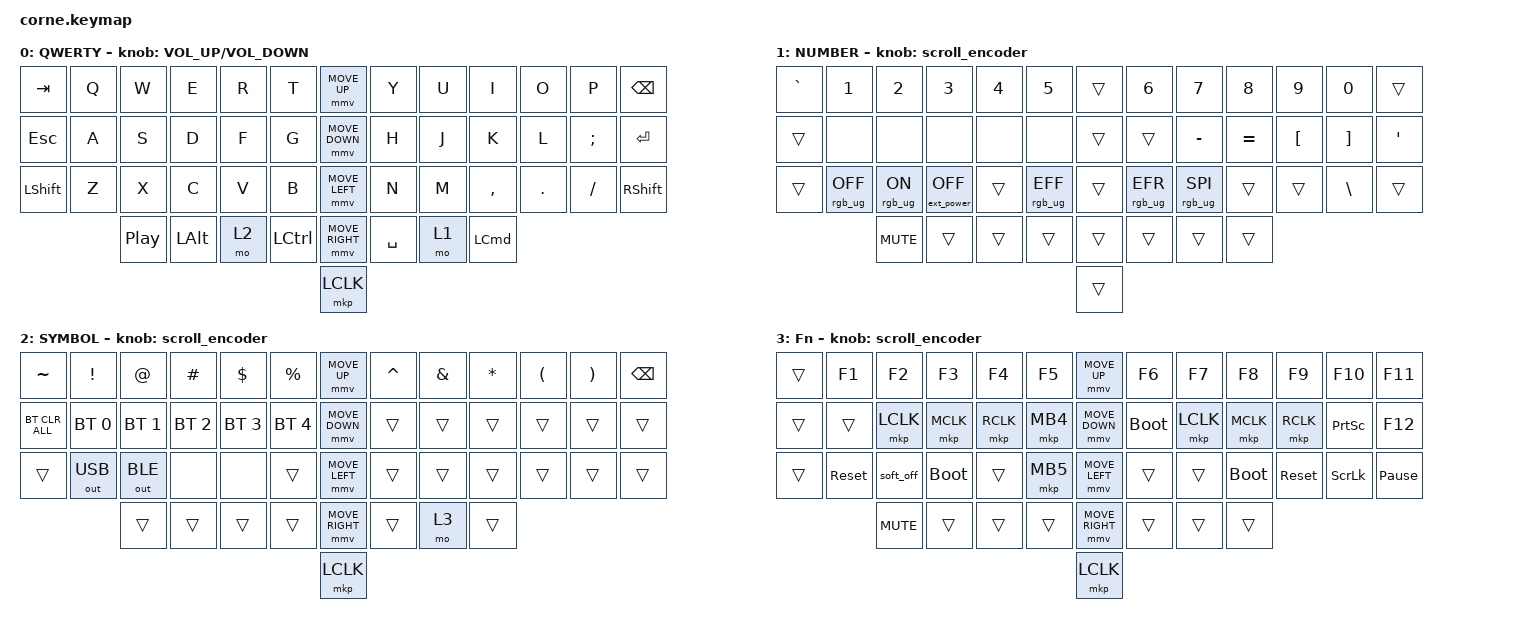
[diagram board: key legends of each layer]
#include <behaviors/mouse_keys.dtsi>
#include <dt-bindings/zmk/mouse.h>
#include <behaviors.dtsi>
#include <dt-bindings/zmk/bt.h>
#include <dt-bindings/zmk/ext_power.h>
#include <dt-bindings/zmk/keys.h>
#include <dt-bindings/zmk/outputs.h>
#include <dt-bindings/zmk/pointing.h>
#include <dt-bindings/zmk/pointing.h>
#include <dt-bindings/zmk/pointing.h>
#include <dt-bindings/zmk/rgb.h>

#define ZMK_MOUSE_DEFAULT_MOVE_VAL 1200  // 600
#define ZMK_MOUSE_DEFAULT_SCRL_VAL 20    // 10
#define U_MS_U &mmv MOVE_UP
#define U_MS_D &mmv MOVE_DOWN
#define U_MS_L &mmv MOVE_LEFT
#define U_MS_R &mmv MOVE_RIGHT

/ {
    behaviors {
        td0: td0 {
            compatible = "zmk,behavior-tap-dance";
            label = "TD0";
            #binding-cells = <0>;
            bindings = <&kp LEFT_SHIFT>, <&kp CAPS>;
        };

        mmv {
            acceleration-exponent = <1>;      // 1
            time-to-max-speed-ms = <900>;    // 40
            delay-ms = <0>;                   // 0
        };

        msc {
            acceleration-exponent = <1>;      // 0
            time-to-max-speed-ms = <400>;      // 500
            delay-ms = <0>;                   // 10
        };
    };

    rgb_encoder: rgb_encoder {
        compatible = "zmk,behavior-sensor-rotate";
        label = "RGB_ENCODER";
        #sensor-binding-cells = <0>;
        bindings = <&rgb_ug RGB_BRI>, <&rgb_ug RGB_BRD>;
    };

    scroll_encoder: scroll_encoder {
        compatible = "zmk,behavior-sensor-rotate";
        #sensor-binding-cells = <0>;
        bindings = <&msc SCRL_DOWN>, <&msc SCRL_UP>;

        tap-ms = <30>;
    };

    combos { compatible = "zmk,combos"; };

    keymap {
        compatible = "zmk,keymap";

        default_layer {
            display-name = "QWERTY";

            // --------------------------------------------------------------------------------
            // |  TAB |  Q  |  W  |  E  |  R  |  T  |                ↑    |  Y  |  U   |  I  |  O  |  P  | BKSP |      &kp UP_ARROW 
            // | SHIFT |  A  |  S  |  D  |  F  |  G  |               ↓    |  H  |  J   |  K  |  L  |  ;  |  '   | 
            // | CTRL |  Z  |  X  |  C  |  V  |  B  |                ←    |  N  |  M   |  ,  |  .  |  /  | ESC  |
            //                    | GUI | LWR | SPC |                →    | ENT | RSE  | ALT |
            //                                                      enter

            bindings = <
&kp TAB         &kp Q  &kp W             &kp E         &kp R  &kp T               &mmv MOVE_UP     &kp Y      &kp U  &kp I             &kp O    &kp P     &kp BSPC
&kp ESC         &kp A  &kp S             &kp D         &kp F  &kp G               &mmv MOVE_DOWN   &kp H      &kp J  &kp K             &kp L    &kp SEMI  &kp ENTER
&kp LEFT_SHIFT  &kp Z  &kp X             &kp C         &kp V  &kp B               &mmv MOVE_LEFT   &kp N      &kp M  &kp COMMA         &kp DOT  &kp FSLH  &kp RIGHT_SHIFT
                       &kp C_PLAY_PAUSE  &kp LEFT_ALT  &mo 2  &kp LEFT_CONTROL    &mmv MOVE_RIGHT  &kp SPACE  &mo 1  &kp LEFT_COMMAND
                                                                                  &mkp LCLK
            >;

            label = "QWERTY";
            sensor-bindings = <&inc_dec_kp C_VOLUME_UP C_VOLUME_DOWN>;
        };

        lower_layer {
            display-name = "NUMBER";

            // -----------------------------------------------------------------------------------------
            // |  TAB |  1  |  2  |  3  |  4  |  5  |   |  6  |  7  |  8  |  9  |  0  | BKSP |
            // | BTCLR| BT1 | BT2 | BT3 | BT4 | BT5 |   | LFT | DWN |  UP | RGT |     |      |
            // | SHFT |     |     |     |     |     |   |     |     |     |     |     |      |
            //                    | GUI |     | SPC |   | ENT |     | ALT |

            bindings = <
&kp GRAVE  &kp N1           &kp N2          &kp N3             &kp N4  &kp N5             &trans  &kp N6           &kp N7           &kp N8     &kp N9            &kp N0             &trans
&trans     &none            &none           &none              &none   &none              &trans  &trans           &kp MINUS        &kp EQUAL  &kp LEFT_BRACKET  &kp RIGHT_BRACKET  &kp SINGLE_QUOTE
&trans     &rgb_ug RGB_OFF  &rgb_ug RGB_ON  &ext_power EP_OFF  &trans  &rgb_ug RGB_EFF    &trans  &rgb_ug RGB_EFR  &rgb_ug RGB_SPI  &trans     &trans            &kp BACKSLASH      &trans
                            &kp C_MUTE      &trans             &trans  &trans             &trans  &trans           &trans           &trans
                                                                                          &trans
            >;

            label = "NUMBER";
            sensor-bindings = <&scroll_encoder>;
        };

        raise_layer {
            display-name = "SYMBOL";

            // -----------------------------------------------------------------------------------------
            // |  TAB |  !  |  @  |  #  |  $  |  %  |   |  ^  |  &  |  *  |  (  |  )  | BKSP |
            // | CTRL |     |     |     |     |     |   |  -  |  =  |  [  |  ]  |  \  |  `   |
            // | SHFT |     |     |     |     |     |   |  _  |  +  |  {  |  }  | "|" |  ~   |
            //                    | GUI |     | SPC |   | ENT |     | ALT |

            bindings = <
&kp TILDE       &kp EXCL      &kp AT        &kp HASH      &kp DLLR      &kp PRCNT       &mmv MOVE_UP     &kp CARET  &kp AMPS  &kp ASTRK  &kp LPAR  &kp RPAR  &kp BSPC
&bt BT_CLR_ALL  &bt BT_SEL 0  &bt BT_SEL 1  &bt BT_SEL 2  &bt BT_SEL 3  &bt BT_SEL 4    &mmv MOVE_DOWN   &trans     &trans    &trans     &trans    &trans    &trans
&trans          &out OUT_USB  &out OUT_BLE  &none         &none         &trans          &mmv MOVE_LEFT   &trans     &trans    &trans     &trans    &trans    &trans
                              &trans        &trans        &trans        &trans          &mmv MOVE_RIGHT  &trans     &mo 3     &trans
                                                                                        &mkp LCLK
            >;

            label = "SYMBOL";
            sensor-bindings = <&scroll_encoder>;
        };

        layer_3 {
            display-name = "Fn";
            bindings = <
&trans  &kp F1      &kp F2      &kp F3       &kp F4     &kp F5      &mmv MOVE_UP     &kp F6       &kp F7     &kp F8       &kp F9      &kp F10          &kp F11
&trans  &trans      &mkp LCLK   &mkp MCLK    &mkp RCLK  &mkp MB4    &mmv MOVE_DOWN   &bootloader  &mkp LCLK  &mkp MCLK    &mkp RCLK   &kp PRINTSCREEN  &kp F12
&trans  &sys_reset  &soft_off   &bootloader  &trans     &mkp MB5    &mmv MOVE_LEFT   &trans       &trans     &bootloader  &sys_reset  &kp SCROLLLOCK   &kp PAUSE_BREAK
                    &kp C_MUTE  &trans       &trans     &trans      &mmv MOVE_RIGHT  &trans       &trans     &trans
                                                                    &mkp LCLK
            >;

            label = "FN";
            sensor-bindings = <&scroll_encoder>;
        };
    };
};
